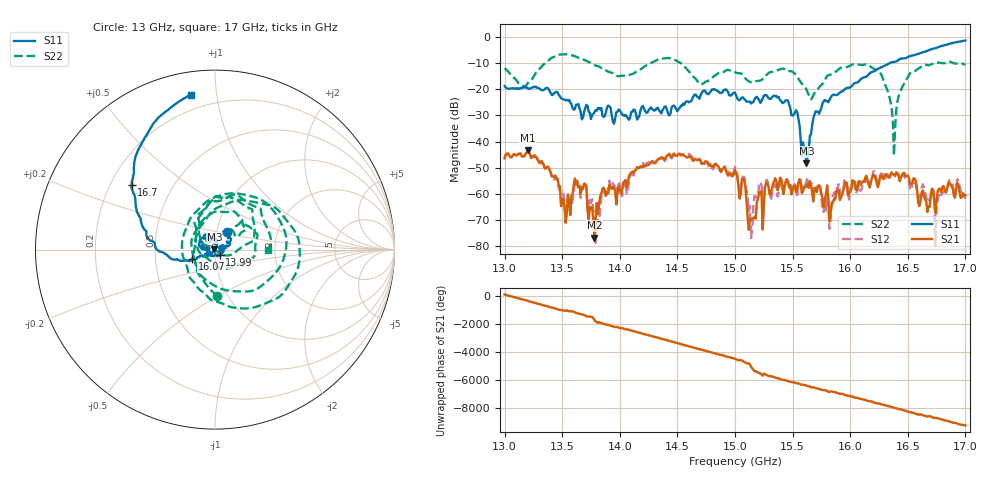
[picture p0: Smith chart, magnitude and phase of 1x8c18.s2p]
!Keysight Technologies,P9374A,MY57211807,A.19.30.04
!Date: Friday, May 08, 2026 15:09:16
!Correction: S11(C  2-Port  )
!S21(C  2-Port  )
!S12(C  2-Port  )
!S22(C  2-Port  )
!S2P File: Measurements: S11, S21, S12, S22:
# Hz S  dB  R 50
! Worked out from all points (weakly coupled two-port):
!   401 points, 13 GHz to 17 GHz, reference 50 ohm
!   highest |S21| = -43.45 dB at 13.2 GHz (marker M1); lowest = -76.9 dB at 13.78 GHz (marker M2)
!   lowest |S11| = -48.4 dB at 15.62 GHz (marker M3), VSWR 1.01, Z = 49.6 + j0.147 ohm
!   |S11| at or under -10 dB: start of sweep to 16.34 GHz
!   |S22| runs from -45.4 to -6.5 dB; largest |S21 - S12| = 0.0008
!   S11 on the Smith chart (normalised r, x): 13 GHz: 1.12, +0.22; 13.99 GHz: 1.05, -0.07; 16.07 GHz: 0.77, -0.09; 16.7 GHz: 0.29, +0.32; 17 GHz: 0.12, +0.85
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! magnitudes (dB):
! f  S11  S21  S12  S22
! 13 GHz  -18.7  -46.5  -46.3  -11.8
! 13.2 GHz  -19.5  -43.5  -43.5  -17.6
! 13.52 GHz  -23.9  -65.4  -63.2  -6.5
! 13.67 GHz  -31.5  -57.5  -57.4  -8.3
! 13.78 GHz  -28.7  -76.9  -70.3  -10.7
! 13.85 GHz  -30.2  -58.1  -59.0  -12.1
! 13.99 GHz  -27.7  -57.2  -56.2  -14.9
! 14.34 GHz  -28.1  -46.6  -46.3  -8.4
! 15 GHz  -21.2  -50.8  -49.8  -13.3
! 15.08 GHz  -23.7  -54.9  -53.6  -15.2
! 15.13 GHz  -24.7  -69.8  -64.8  -17.1
! 15.21 GHz  -24.1  -59.5  -55.7  -16.7
! 15.45 GHz  -24.1  -54.5  -54.6  -12.9
! 15.62 GHz  -48.4  -57.1  -55.2  -20.0
! 15.67 GHz  -33.7  -59.7  -56.2  -23.3
! 15.81 GHz  -24.9  -61.8  -65.6  -14.5
! 16.07 GHz  -17.1  -55.6  -57.6  -10.5
! 16.34 GHz  -10.0  -53.9  -54.4  -22.8
! 16.38 GHz  -9.4  -52.7  -52.2  -45.4
! 16.51 GHz  -7.3  -54.0  -55.7  -14.4
! 16.7 GHz  -4.6  -60.3  -61.6  -10.4
! 17 GHz  -1.2  -60.6  -62.0  -10.6
